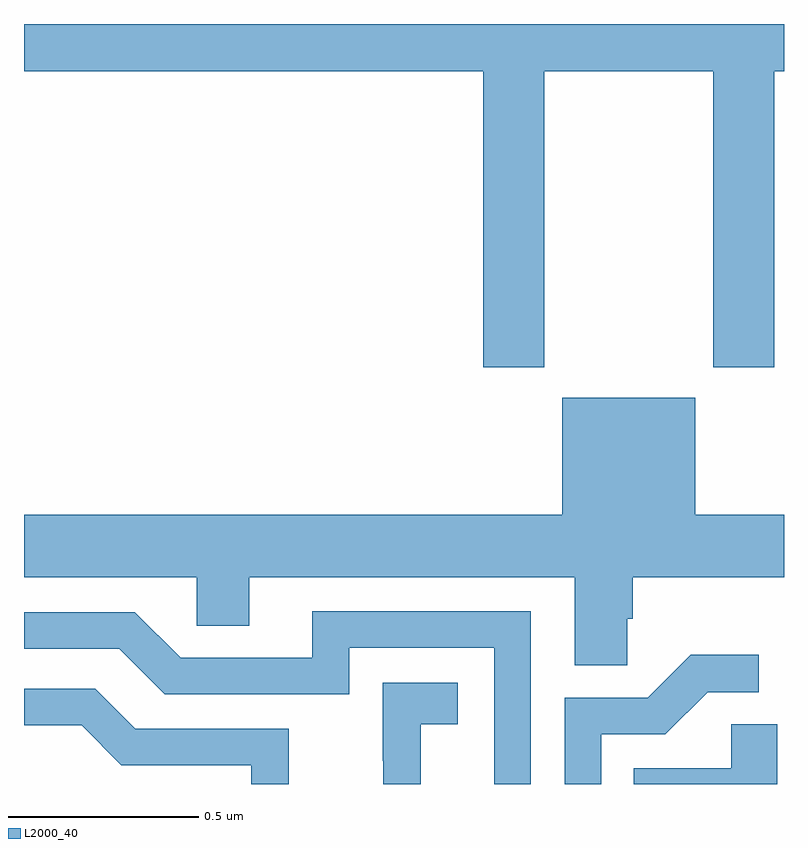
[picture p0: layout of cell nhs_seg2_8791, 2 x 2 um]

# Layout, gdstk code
import gdstk
lib = gdstk.Library(unit=1e-6, precision=1e-09)
def P(c, l, *ps):  # polygons
    for p in ps: c.add(gdstk.Polygon(p, *l))
L2000_40 = (2000, 40)

nhs_seg2_8791 = lib.new_cell('nhs_seg2_8791')
P(nhs_seg2_8791, L2000_40, [(222.369,607.676),(222.814,607.676),(222.814,606.897),(222.974,606.897),(222.974,607.676),(223,607.676),(223,607.8),(221,607.8),(221,607.676),(222.209,607.676),(222.209,606.897),(222.369,606.897)],
  [(222.588,606.235),(222.602,606.235),(222.602,606.344),(223,606.344),(223,606.508),(222.766,606.508),(222.766,606.817),(222.416,606.817),(222.416,606.508),(221,606.508),(221,606.344),(221.454,606.344),(221.454,606.217),(221.593,606.217),(221.593,606.344),(222.449,606.344),(222.449,606.112),(222.588,606.112)],
  [(222.333,606.255),(221.759,606.255),(221.759,606.132),(221.412,606.132),(221.292,606.252),(221,606.252),(221,606.156),(221.25,606.156),(221.37,606.036),(221.856,606.036),(221.856,606.159),(222.237,606.159),(222.237,605.8),(222.333,605.8)],
  [(222.519,605.931),(222.688,605.931),(222.799,606.042),(222.934,606.042),(222.934,606.14),(222.755,606.14),(222.642,606.027),(222.423,606.027),(222.423,605.8),(222.519,605.8)],
  [(222.044,605.957),(222.142,605.957),(222.142,606.067),(221.944,606.067),(221.944,605.861),(221.945,605.861),(221.945,605.8),(222.044,605.8)],
  [(221.697,605.946),(221.293,605.946),(221.188,606.051),(221,606.051),(221,605.954),(221.152,605.954),(221.256,605.85),(221.598,605.85),(221.598,605.8),(221.697,605.8)],
  [(222.982,605.957),(222.861,605.957),(222.861,605.842),(222.604,605.842),(222.604,605.8),(222.982,605.8)])

lib.write_gds('nhs_seg2_8791.gds')
